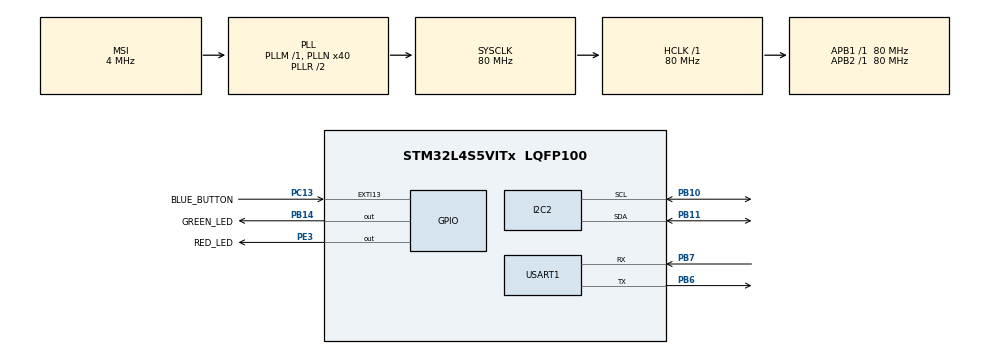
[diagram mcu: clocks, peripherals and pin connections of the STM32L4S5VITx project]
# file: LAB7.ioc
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FREERTOS.Tasks01=changeMode,0,128,StartChangeMode,Default,NULL,Dynamic,NULL,NULL;transmitData,0,128,StartTransmitData,Default,NULL,Dynamic,NULL,NULL;readSensorsData,0,128,StartReadSensorsData,Default,NULL,Dynamic,NULL,NULL;AutoTransition,-3,128,StartAutoTransition,Default,NULL,Dynamic,NULL,NULL
I2C2.Timing=0x10909CEC
Mcu.Family=STM32L4
Mcu.Name=STM32L4S5VITx
Mcu.Package=LQFP100
NVIC.EXTI15_10_IRQn=true\:5\:0\:false\:false\:true\:true\:true\:true\:true
NVIC.PriorityGroup=NVIC_PRIORITYGROUP_4
NVIC.TIM6_DAC_IRQn=true\:15\:0\:false\:false\:true\:false\:false\:true\:true
NVIC.TimeBase=TIM6_DAC_IRQn
NVIC.TimeBaseIP=TIM6
PA13\ (JTMS/SWDIO).Signal=SYS_JTMS-SWDIO
PB10.Mode=I2C
PB10.Signal=I2C2_SCL
PB11.Mode=I2C
PB11.Signal=I2C2_SDA
PB14.GPIO_Label=GREEN_LED
PB14.Signal=GPIO_Output
PB3\ (JTDO/TRACESWO).Signal=SYS_JTDO-SWO
PB6.Mode=Asynchronous
PB6.Signal=USART1_TX
PB7.Mode=Asynchronous
PB7.Signal=USART1_RX
PC13.GPIO_Label=BLUE_BUTTON
PC13.Signal=GPXTI13
PE3.GPIO_Label=RED_LED
PE3.Signal=GPIO_Output
ProjectManager.HeapSize=0x200
ProjectManager.StackSize=0x400
ProjectManager.TargetToolchain=STM32CubeIDE
RCC.ADCFreq_Value=48000000
RCC.AHBFreq_Value=80000000
RCC.APB1Freq_Value=80000000
RCC.APB1TimFreq_Value=80000000
RCC.APB2Freq_Value=80000000
RCC.APB2TimFreq_Value=80000000
RCC.CortexFreq_Value=80000000
RCC.HCLKFreq_Value=80000000
RCC.HSE_VALUE=8000000
RCC.HSI48_VALUE=48000000
RCC.HSI_VALUE=16000000
RCC.LSE_VALUE=32768
RCC.MSI_VALUE=4000000
RCC.PLLN=40
RCC.PLLSAI1N=24
RCC.SYSCLKFreq_VALUE=80000000
RCC.SYSCLKSource=RCC_SYSCLKSOURCE_PLLCLK
RCC.USBFreq_Value=48000000
RCC.VCOOutputFreq_Value=160000000
USART1.VirtualMode-Asynchronous=VM_ASYNC
VP_FREERTOS_VS_CMSIS_V1.Mode=CMSIS_V1
VP_SYS_VS_tim6.Mode=TIM6
board=B-L4S5I-IOT01A

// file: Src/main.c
/* USER CODE BEGIN Header */
/**
  ******************************************************************************
  * @file           : main.c
  * @brief          : Main program body
  ******************************************************************************
  * @attention
  *
  * Copyright (c) 2022 STMicroelectronics.
  * All rights reserved.
  *
  * This software is licensed under terms that can be found in the LICENSE file
  * in the root directory of this software component.
  * If no LICENSE file comes with this software, it is provided AS-IS.
  *
  ******************************************************************************
  */
/* USER CODE END Header */
#include "main.h"
#include "cmsis_os.h"

/* USER CODE BEGIN Includes */
#include "stm32l4s5i_iot01_accelero.h"
#include "stm32l4s5i_iot01_gyro.h"
#include "stm32l4s5i_iot01_magneto.h"
#include "stm32l4s5i_iot01_psensor.h"

#include <stdio.h>
#include <string.h>
/* USER CODE END Includes */

/* USER CODE BEGIN PD */
#define ITM_Port32(n) (*((volatile unsigned long *) (0xE0000000+4*n)))
/* USER CODE END PD */

I2C_HandleTypeDef hi2c2;

UART_HandleTypeDef huart1;

osThreadId changeModeHandle;
osThreadId transmitDataHandle;
osThreadId readSensorsDataHandle;
osThreadId AutoTransitionHandle;
/* USER CODE BEGIN PV */

// mode for which sensor data gets printed to terminal
uint8_t buttonPressed = 0;
uint8_t mode = 0;
uint8_t counter = 0;

//Sensors outputs
int16_t accelerometer[3];
float gyroscope[3];
int16_t magnetometer[3];
float psensor;
char str[100];
/* USER CODE END PV */

void SystemClock_Config(void);
static void MX_GPIO_Init(void);
static void MX_I2C2_Init(void);
static void MX_USART1_UART_Init(void);
void StartChangeMode(void const * argument);
void StartTransmitData(void const * argument);
void StartReadSensorsData(void const * argument);
void StartAutoTransition(void const * argument);

int main(void)
{

  /* MCU Configuration--------------------------------------------------------*/

  /* Reset of all peripherals, Initializes the Flash interface and the Systick. */
  HAL_Init();

  /* Configure the system clock */
  SystemClock_Config();

  /* Initialize all configured peripherals */
  MX_GPIO_Init();
  MX_I2C2_Init();
  MX_USART1_UART_Init();
  /* USER CODE BEGIN 2 */
//  BSP_ACCELERO_Init();
//  BSP_GYRO_Init();
//  BSP_MAGNETO_Init();
//  BSP_PSENSOR_Init();
  /* USER CODE END 2 */

  /* Create the thread(s) */
  /* definition and creation of changeMode */
  osThreadDef(changeMode, StartChangeMode, osPriorityNormal, 0, 128);
  changeModeHandle = osThreadCreate(osThread(changeMode), NULL);

  /* definition and creation of transmitData */
  osThreadDef(transmitData, StartTransmitData, osPriorityNormal, 0, 128);
  transmitDataHandle = osThreadCreate(osThread(transmitData), NULL);

  /* definition and creation of readSensorsData */
  osThreadDef(readSensorsData, StartReadSensorsData, osPriorityNormal, 0, 128);
  readSensorsDataHandle = osThreadCreate(osThread(readSensorsData), NULL);

  /* definition and creation of AutoTransition */
  osThreadDef(AutoTransition, StartAutoTransition, osPriorityIdle, 0, 128);
  AutoTransitionHandle = osThreadCreate(osThread(AutoTransition), NULL);

  /* Start scheduler */
  osKernelStart();

  /* We should never get here as control is now taken by the scheduler */
  /* Infinite loop */
  while (1)
  {

  }
}

void SystemClock_Config(void)
{
  RCC_OscInitTypeDef RCC_OscInitStruct = {0};
  RCC_ClkInitTypeDef RCC_ClkInitStruct = {0};

  /** Configure the main internal regulator output voltage
  */
  if (HAL_PWREx_ControlVoltageScaling(PWR_REGULATOR_VOLTAGE_SCALE1) != HAL_OK)
  {
    Error_Handler();
  }

  /** Initializes the RCC Oscillators according to the specified parameters
  * in the RCC_OscInitTypeDef structure.
  */
  RCC_OscInitStruct.OscillatorType = RCC_OSCILLATORTYPE_MSI;
  RCC_OscInitStruct.MSIState = RCC_MSI_ON;
  RCC_OscInitStruct.MSICalibrationValue = 0;
  RCC_OscInitStruct.MSIClockRange = RCC_MSIRANGE_6;
  RCC_OscInitStruct.PLL.PLLState = RCC_PLL_ON;
  RCC_OscInitStruct.PLL.PLLSource = RCC_PLLSOURCE_MSI;
  RCC_OscInitStruct.PLL.PLLM = 1;
  RCC_OscInitStruct.PLL.PLLN = 40;
  RCC_OscInitStruct.PLL.PLLP = RCC_PLLP_DIV2;
  RCC_OscInitStruct.PLL.PLLQ = RCC_PLLQ_DIV2;
  RCC_OscInitStruct.PLL.PLLR = RCC_PLLR_DIV2;
  if (HAL_RCC_OscConfig(&RCC_OscInitStruct) != HAL_OK)
  {
    Error_Handler();
  }

  /** Initializes the CPU, AHB and APB buses clocks
  */
  RCC_ClkInitStruct.ClockType = RCC_CLOCKTYPE_HCLK|RCC_CLOCKTYPE_SYSCLK
                              |RCC_CLOCKTYPE_PCLK1|RCC_CLOCKTYPE_PCLK2;
  RCC_ClkInitStruct.SYSCLKSource = RCC_SYSCLKSOURCE_PLLCLK;
  RCC_ClkInitStruct.AHBCLKDivider = RCC_SYSCLK_DIV1;
  RCC_ClkInitStruct.APB1CLKDivider = RCC_HCLK_DIV1;
  RCC_ClkInitStruct.APB2CLKDivider = RCC_HCLK_DIV1;

  if (HAL_RCC_ClockConfig(&RCC_ClkInitStruct, FLASH_LATENCY_3) != HAL_OK)
  {
    Error_Handler();
  }
}

static void MX_I2C2_Init(void)
{

  hi2c2.Instance = I2C2;
  hi2c2.Init.Timing = 0x10909CEC;
  hi2c2.Init.OwnAddress1 = 0;
  hi2c2.Init.AddressingMode = I2C_ADDRESSINGMODE_7BIT;
  hi2c2.Init.DualAddressMode = I2C_DUALADDRESS_DISABLE;
  hi2c2.Init.OwnAddress2 = 0;
  hi2c2.Init.OwnAddress2Masks = I2C_OA2_NOMASK;
  hi2c2.Init.GeneralCallMode = I2C_GENERALCALL_DISABLE;
  hi2c2.Init.NoStretchMode = I2C_NOSTRETCH_DISABLE;
  if (HAL_I2C_Init(&hi2c2) != HAL_OK)
  {
    Error_Handler();
  }

  /** Configure Analogue filter
  */
  if (HAL_I2CEx_ConfigAnalogFilter(&hi2c2, I2C_ANALOGFILTER_ENABLE) != HAL_OK)
  {
    Error_Handler();
  }

  /** Configure Digital filter
  */
  if (HAL_I2CEx_ConfigDigitalFilter(&hi2c2, 0) != HAL_OK)
  {
    Error_Handler();
  }

}

static void MX_USART1_UART_Init(void)
{

  huart1.Instance = USART1;
  huart1.Init.BaudRate = 115200;
  huart1.Init.WordLength = UART_WORDLENGTH_8B;
  huart1.Init.StopBits = UART_STOPBITS_1;
  huart1.Init.Parity = UART_PARITY_NONE;
  huart1.Init.Mode = UART_MODE_TX_RX;
  huart1.Init.HwFlowCtl = UART_HWCONTROL_NONE;
  huart1.Init.OverSampling = UART_OVERSAMPLING_16;
  huart1.Init.OneBitSampling = UART_ONE_BIT_SAMPLE_DISABLE;
  huart1.Init.ClockPrescaler = UART_PRESCALER_DIV1;
  huart1.AdvancedInit.AdvFeatureInit = UART_ADVFEATURE_NO_INIT;
  if (HAL_UART_Init(&huart1) != HAL_OK)
  {
    Error_Handler();
  }
  if (HAL_UARTEx_SetTxFifoThreshold(&huart1, UART_TXFIFO_THRESHOLD_1_8) != HAL_OK)
  {
    Error_Handler();
  }
  if (HAL_UARTEx_SetRxFifoThreshold(&huart1, UART_RXFIFO_THRESHOLD_1_8) != HAL_OK)
  {
    Error_Handler();
  }
  if (HAL_UARTEx_DisableFifoMode(&huart1) != HAL_OK)
  {
    Error_Handler();
  }

}

static void MX_GPIO_Init(void)
{
  GPIO_InitTypeDef GPIO_InitStruct = {0};

  /* GPIO Ports Clock Enable */
  __HAL_RCC_GPIOE_CLK_ENABLE();
  __HAL_RCC_GPIOC_CLK_ENABLE();
  __HAL_RCC_GPIOB_CLK_ENABLE();
  __HAL_RCC_GPIOA_CLK_ENABLE();

  /*Configure GPIO pin Output Level */
  HAL_GPIO_WritePin(RED_LED_GPIO_Port, RED_LED_Pin, GPIO_PIN_RESET);

  /*Configure GPIO pin Output Level */
  HAL_GPIO_WritePin(GREEN_LED_GPIO_Port, GREEN_LED_Pin, GPIO_PIN_RESET);

  /*Configure GPIO pin : RED_LED_Pin */
  GPIO_InitStruct.Pin = RED_LED_Pin;
  GPIO_InitStruct.Mode = GPIO_MODE_OUTPUT_PP;
  GPIO_InitStruct.Pull = GPIO_NOPULL;
  GPIO_InitStruct.Speed = GPIO_SPEED_FREQ_LOW;
  HAL_GPIO_Init(RED_LED_GPIO_Port, &GPIO_InitStruct);

  /*Configure GPIO pin : BLUE_BUTTON_Pin */
  GPIO_InitStruct.Pin = BLUE_BUTTON_Pin;
  GPIO_InitStruct.Mode = GPIO_MODE_IT_RISING;
  GPIO_InitStruct.Pull = GPIO_NOPULL;
  HAL_GPIO_Init(BLUE_BUTTON_GPIO_Port, &GPIO_InitStruct);

  /*Configure GPIO pin : GREEN_LED_Pin */
  GPIO_InitStruct.Pin = GREEN_LED_Pin;
  GPIO_InitStruct.Mode = GPIO_MODE_OUTPUT_PP;
  GPIO_InitStruct.Pull = GPIO_NOPULL;
  GPIO_InitStruct.Speed = GPIO_SPEED_FREQ_LOW;
  HAL_GPIO_Init(GREEN_LED_GPIO_Port, &GPIO_InitStruct);

  /* EXTI interrupt init*/
  HAL_NVIC_SetPriority(EXTI15_10_IRQn, 5, 0);
  HAL_NVIC_EnableIRQ(EXTI15_10_IRQn);

}

/* USER CODE BEGIN 4 */
void HAL_GPIO_EXTI_Callback(uint16_t GPIO_Pin) {
	HAL_GPIO_TogglePin(GREEN_LED_GPIO_Port, GREEN_LED_Pin);
	buttonPressed = 1;
}
/* USER CODE END 4 */

void StartChangeMode(void const * argument)
{
  /* USER CODE BEGIN 5 */
  /* Infinite loop */
  for(;;)
  {
    osDelay(100);
    counter++;
    ITM_Port32(31) = 1;
    if(buttonPressed) {
        ITM_Port32(31) = 3;
    	buttonPressed = 0;
    	mode = (mode + 1) % 4;
    	counter = 0;
    }
  }
  /* USER CODE END 5 */
}

void StartTransmitData(void const * argument)
{
  /* USER CODE BEGIN StartTransmitData */
// UART status
	HAL_StatusTypeDef UART_status;
	HAL_UART_Init(&huart1);
  /* Infinite loop */
  for(;;)
  {
    osDelay(100);
    ITM_Port32(31) = 2;
    switch(mode) {
    	case 0:
    		// accelerometer
    		sprintf(str, "\n Acceleration X, Y, Z: %.2d, %.2d, %.2d\n", (int) accelerometer[0], (int) accelerometer[1], (int) accelerometer[2]);
    		break;
    	case 1:
    		// gyroscope
    		sprintf(str, "\n Gyro X, Y, Z: %.2d, %.2d, %.2d\n", (int) gyroscope[0], (int) gyroscope[1], (int) gyroscope[2]);
    		break;
    	case 2:
    		// magnetometer
    		sprintf(str, "\n Magnetic X, Y, Z: %.2d, %.2d, %.2d\n", (int) magnetometer[0], (int) magnetometer[1], (int) magnetometer[2]);
    		break;
    	case 3:
    		// humidity sensor
    		sprintf(str, "\n Pressure: %.2d\n", (int) psensor);
    		break;
    	}

    UART_status = HAL_UART_Transmit(&huart1, str, (uint16_t) strlen(str), 100);
    if (UART_status != HAL_OK)
    	HAL_GPIO_TogglePin(RED_LED_GPIO_Port, RED_LED_Pin);
    }
  /* USER CODE END StartTransmitData */
}

void StartReadSensorsData(void const * argument)
{
  /* USER CODE BEGIN StartReadSensorsData */
	BSP_ACCELERO_Init();
	BSP_GYRO_Init();
	BSP_MAGNETO_Init();
	BSP_PSENSOR_Init();
  /* Infinite loop */
  for(;;)
  {
    osDelay(100);
    ITM_Port32(31) = 3;
    BSP_ACCELERO_AccGetXYZ(accelerometer);
    BSP_GYRO_GetXYZ(gyroscope);
    BSP_MAGNETO_GetXYZ(magnetometer);
    psensor = BSP_PSENSOR_ReadPressure();
  }
  /* USER CODE END StartReadSensorsData */
}

void StartAutoTransition(void const * argument)
{
  /* USER CODE BEGIN StartAutoTransition */
  /* Infinite loop */
  for(;;)
  {
    osDelay(100);
    if(counter == 30) {
    	ITM_Port32(31) = 5;
    	mode = (mode + 1) % 4;
    }
  }
  /* USER CODE END StartAutoTransition */
}

void HAL_TIM_PeriodElapsedCallback(TIM_HandleTypeDef *htim)
{
  if (htim->Instance == TIM6) {
    HAL_IncTick();
  }
}

void Error_Handler(void)
{
  __disable_irq();
  while (1)
  {
  }
}
